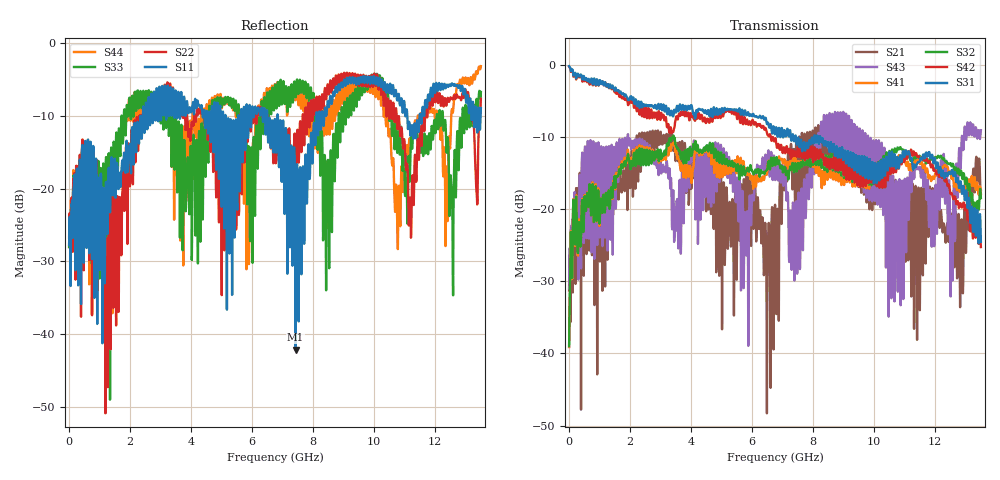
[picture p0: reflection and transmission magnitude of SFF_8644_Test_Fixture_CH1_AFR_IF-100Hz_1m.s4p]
!Keysight Technologies,N5231B,MY57181281,A.17.25.05
!Date: Friday, March 07, 2025 17:18:21
!Correction: S11(C  4-Port  )
!S12(C  4-Port  )
!S13(C  4-Port  )
!S14(C  4-Port  )
!S21(C  4-Port  )
!S22(C  4-Port  )
!S23(C  4-Port  )
!S24(C  4-Port  )
!S31(C  4-Port  )
!S32(C  4-Port  )
!S33(C  4-Port  )
!S34(C  4-Port  )
!S41(C  4-Port  )
!S42(C  4-Port  )
!S43(C  4-Port  )
!S44(C  4-Port  )
!S4P File: Measurements: <S11,S12,S13,S14>,
!<S21,S22,S23,S24>,
!<S31,S32,S33,S34>,
!<S41,S42,S43,S44>:
# Hz S  dB  R 50
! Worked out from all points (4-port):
!   1350 points, 10 MHz to 13.5 GHz, reference 50 ohm
!   strongest paths, dB at 10 MHz, 3.38 GHz, 6.76 GHz, 10.13 GHz, 13.5 GHz:
!     S31: -0.2, -6.6, -9.5, -13.5, -24.5
!     S42: -0.3, -9.2, -10.3, -14.9, -25.3
!     S32: -39.0, -10.1, -13.9, -13.8, -18.5
!     S41: -39.1, -11.0, -13.8, -14.1, -17.9
!     S43: -31.0, -22.5, -16.0, -14.9, -9.1
!     S21: -31.3, -9.5, -19.4, -17.7, -17.5
!   lowest |S11| = -42.2 dB at 7.43 GHz (marker M1), VSWR 1.02, Z = 50.2 - j0.742 ohm
!   |S11| at or under -10 dB: start of sweep to 2.349 GHz; 5.139 GHz to 5.559 GHz (420.2 MHz wide, 7.86 % of centre); 6.846 GHz to 8.11 GHz (1.264 GHz wide, 16.9 % of centre)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
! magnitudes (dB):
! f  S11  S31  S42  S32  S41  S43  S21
! 10 MHz  -27.8  -0.2  -0.3  -39.0  -39.1  -31.0  -31.3
! 3.1 GHz  -9.9  -5.5  -6.9  -12.7  -13.1  -14.8  -9.7
! 6.55 GHz  -12.2  -8.4  -9.9  -13.3  -13.4  -12.5  -21.9
! 7.43 GHz  -42.2  -9.8  -12.3  -13.7  -13.0  -19.2  -14.8
! 8.41 GHz  -9.3  -10.6  -13.0  -12.8  -14.2  -11.0  -13.6
! 10.81 GHz  -6.9  -14.3  -14.4  -11.7  -12.6  -17.7  -17.3
! 13.5 GHz  -8.9  -24.5  -25.3  -18.5  -17.9  -9.1  -17.5
